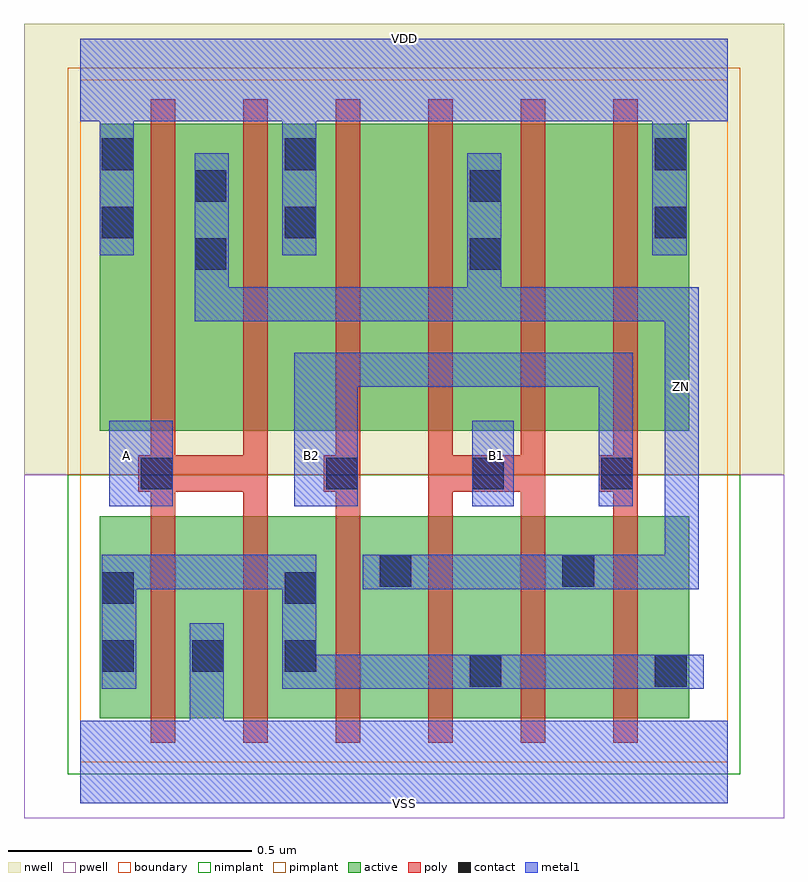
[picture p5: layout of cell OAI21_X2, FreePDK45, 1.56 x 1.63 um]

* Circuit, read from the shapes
.subckt OAI21_X2 A B1 B2 VDD VSS ZN
M1 VSS A n1 VSUBS nfet w=0.415u l=0.05u m=2
M2 ZN B2 n1 VSUBS nfet w=0.415u l=0.05u m=2
M3 n1 B1 ZN VSUBS nfet w=0.415u l=0.05u m=2
M4 ZN A VDD n2 pfet w=0.63u l=0.05u m=2
M5 n3 B2 VDD n2 pfet w=0.63u l=0.05u
M6 ZN B1 n3 n2 pfet w=0.63u l=0.05u
M7 n4 B1 ZN n2 pfet w=0.63u l=0.05u
M8 VDD B2 n4 n2 pfet w=0.63u l=0.05u
.ends

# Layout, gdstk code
import gdstk
lib = gdstk.Library(unit=1e-6, precision=5e-10)
def R(c, l, rs):  # rectangles x0, y0, x1, y1
    for r in rs: c.add(gdstk.rectangle(r[:2], r[2:], *l))
def P(c, l, *ps):  # polygons
    for p in ps: c.add(gdstk.Polygon(p, *l))
active = (1, 0)
pwell = (2, 0)
nwell = (3, 0)
nimplant = (4, 0)
pimplant = (5, 0)
poly = (9, 0)
contact = (10, 0)
metal1 = (11, 0)
boundary = (235, 0)

oai21_x2 = lib.new_cell('OAI21_X2')
R(oai21_x2, active, [(0.04,0.09,1.25,0.505), (0.04,0.68,1.25,1.31)])
R(oai21_x2, pwell, [(-0.115,-0.115,1.445,0.59)])
R(oai21_x2, nwell, [(-0.115,0.59,1.445,1.515)])
R(oai21_x2, nimplant, [(-0.025,-0.025,1.355,0.59)])
R(oai21_x2, pimplant, [(-0.025,0.59,1.355,1.425)])
P(oai21_x2, poly, [(1.065,0.555),(1.095,0.555),(1.095,0.04),(1.145,0.04),(1.145,1.36),(1.095,1.36),(1.095,0.63),(1.065,0.63)],
  [(0.715,0.04),(0.765,0.04),(0.765,0.555),(0.905,0.555),(0.905,0.04),(0.955,0.04),(0.955,1.36),(0.905,1.36),(0.905,0.63),(0.765,0.63),(0.765,1.36),(0.715,1.36)],
  [(0.5,0.555),(0.525,0.555),(0.525,0.04),(0.575,0.04),(0.575,1.36),(0.525,1.36),(0.525,0.63),(0.5,0.63)],
  [(0.12,0.555),(0.145,0.555),(0.145,0.04),(0.195,0.04),(0.195,0.555),(0.335,0.555),(0.335,0.04),(0.385,0.04),(0.385,1.36),(0.335,1.36),(0.335,0.63),(0.195,0.63),(0.195,1.36),(0.145,1.36),(0.145,0.63),(0.12,0.63)])
R(oai21_x2, contact, [(0.8,0.155,0.865,0.22), (1.18,0.155,1.245,0.22), (0.045,0.185,0.11,0.25), (0.23,0.185,0.295,0.25), (0.42,0.185,0.485,0.25), (0.045,0.325,0.11,0.39), (0.42,0.325,0.485,0.39), (0.615,0.36,0.68,0.425), (0.99,0.36,1.055,0.425), (0.125,0.56,0.19,0.625), (0.505,0.56,0.57,0.625), (0.805,0.56,0.87,0.625), (1.07,0.56,1.135,0.625), (0.235,1.01,0.3,1.075), (0.8,1.01,0.865,1.075), (0.045,1.075,0.11,1.14), (0.42,1.075,0.485,1.14), (1.18,1.075,1.245,1.14), (0.235,1.15,0.3,1.215), (0.8,1.15,0.865,1.215), (0.045,1.215,0.11,1.28), (0.42,1.215,0.485,1.28), (1.18,1.215,1.245,1.28)])
R(oai21_x2, metal1, [(0.06,0.525,0.19,0.7), (0.06,0.525,0.19,0.7), (0.805,0.525,0.89,0.7), (0.805,0.525,0.89,0.7)])
P(oai21_x2, metal1, [(0,-0.085),(1.33,-0.085),(1.33,0.085),(0.295,0.085),(0.295,0.285),(0.225,0.285),(0.225,0.085),(0,0.085)],
  [(0,1.315),(0.04,1.315),(0.04,1.04),(0.11,1.04),(0.11,1.315),(0.415,1.315),(0.415,1.04),(0.485,1.04),(0.485,1.315),(1.175,1.315),(1.175,1.04),(1.245,1.04),(1.245,1.315),(1.33,1.315),(1.33,1.485),(0,1.485)],
  [(0.235,0.905),(1.2,0.905),(1.2,0.425),(0.58,0.425),(0.58,0.355),(1.27,0.355),(1.27,0.975),(0.865,0.975),(0.865,1.25),(0.795,1.25),(0.795,0.975),(0.305,0.975),(0.305,1.25),(0.235,1.25)],
  [(0.44,0.525),(0.57,0.525),(0.57,0.77),(1.065,0.77),(1.065,0.525),(1.135,0.525),(1.135,0.84),(0.44,0.84)],
  [(0,1.315),(0.04,1.315),(0.04,1.04),(0.11,1.04),(0.11,1.315),(0.415,1.315),(0.415,1.04),(0.485,1.04),(0.485,1.315),(1.175,1.315),(1.175,1.04),(1.245,1.04),(1.245,1.315),(1.33,1.315),(1.33,1.485),(0,1.485)],
  [(0,-0.085),(1.33,-0.085),(1.33,0.085),(0.295,0.085),(0.295,0.285),(0.225,0.285),(0.225,0.085),(0,0.085)],
  [(0.045,0.15),(0.115,0.15),(0.115,0.355),(0.415,0.355),(0.415,0.15),(1.28,0.15),(1.28,0.22),(0.485,0.22),(0.485,0.425),(0.045,0.425)],
  [(0.235,0.905),(1.2,0.905),(1.2,0.425),(0.58,0.425),(0.58,0.355),(1.27,0.355),(1.27,0.975),(0.865,0.975),(0.865,1.25),(0.795,1.25),(0.795,0.975),(0.305,0.975),(0.305,1.25),(0.235,1.25)],
  [(0.44,0.525),(0.57,0.525),(0.57,0.77),(1.065,0.77),(1.065,0.525),(1.135,0.525),(1.135,0.84),(0.44,0.84)])
R(oai21_x2, boundary, [(0,0,1.33,1.4)])
oai21_x2.add(gdstk.Label('ZN', (1.235,0.77), layer=11, texttype=0))
oai21_x2.add(gdstk.Label('VSS', (0.665,-0.085), layer=11, texttype=0))
oai21_x2.add(gdstk.Label('VDD', (0.665,1.485), layer=11, texttype=0))
oai21_x2.add(gdstk.Label('B2', (0.475,0.63), layer=11, texttype=0))
oai21_x2.add(gdstk.Label('B1', (0.855,0.63), layer=11, texttype=0))
oai21_x2.add(gdstk.Label('A', (0.095,0.63), layer=11, texttype=0))

lib.write_gds('OAI21_X2.gds')
